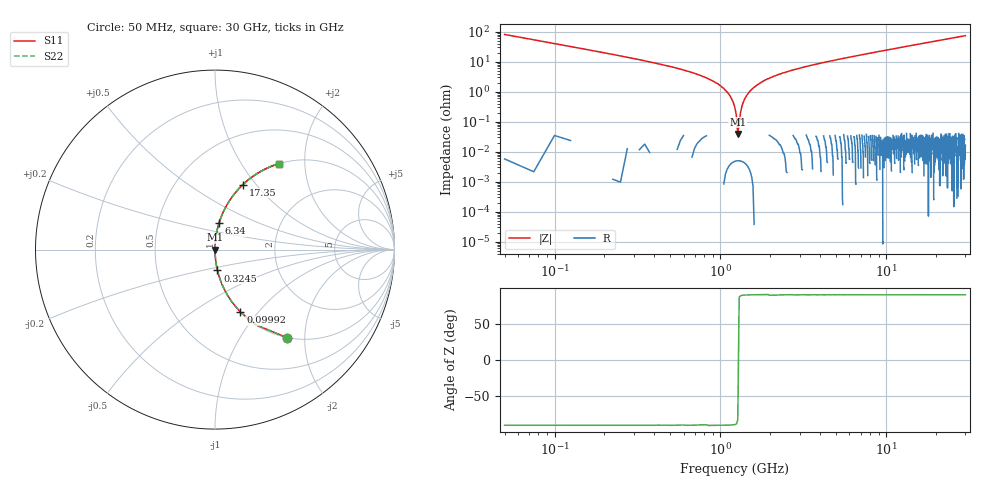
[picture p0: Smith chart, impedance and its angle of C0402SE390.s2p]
# MHZ S MA R 50
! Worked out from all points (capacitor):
!   1201 points, 50 MHz to 30 GHz, reference 50 ohm
!   read as one part in series: C = 39 pF near 199.8 MHz
!   lowest |Z| = 38.8 mohm at 1.273 GHz (marker M1)
!   series resonance near 1.281 GHz, so ESL is about 400 pH
!   S11 on the Smith chart (normalised r, x): 50 MHz: 1.00, -1.63; 99.92 MHz: 1.00, -0.81; 324.5 MHz: 1.00, -0.24; 6.34 GHz: 1.00, +0.30; 17.35 GHz: 1.00, +0.86; 30 GHz: 1.00, +1.49
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50  0.632 -50.8  0.775 39.2  0.775 39.2  0.632 -50.8
99.917  0.376 -67.9  0.926 22.1  0.926 22.1  0.376 -67.9
224.708  0.173 -80.0  0.985 10.0  0.985 10.0  0.173 -80.0
324.542  0.117 -83.2  0.993 6.7  0.993 6.7  0.117 -83.2
948.5  0.019 -88.6  1 1.1  1 1.1  0.019 -88.6
1073.292  0.011 -88.8  1 0.6  1 0.6  0.011 -88.8
1173.125  0.005598 -88.7  1 0.3  1 0.3  0.005598 -88.7
1272.958  0.0003981 -75.4  1 0.0  1 0.0  0.0003981 -75.4
1372.792  0.004431 88.5  1 -0.3  1 -0.3  0.004431 88.5
1497.583  0.01 88.9  1 -0.6  1 -0.6  0.01 88.9
1647.333  0.016 88.7  1 -0.9  1 -0.9  0.016 88.7
1871.958  0.025 88.3  1 -1.4  1 -1.4  0.025 88.3
2196.417  0.036 87.8  0.999 -2.1  0.999 -2.1  0.036 87.8
3294.583  0.069 85.9  0.997 -4.0  0.997 -4.0  0.069 85.9
5041.667  0.117 83.3  0.993 -6.7  0.993 -6.7  0.117 83.3
6339.5  0.15 81.4  0.989 -8.6  0.989 -8.6  0.15 81.4
10058.29  0.239 76.1  0.971 -13.8  0.971 -13.8  0.239 76.1
15025  0.348 69.6  0.937 -20.4  0.937 -20.4  0.348 69.6
17346.12  0.394 66.8  0.919 -23.2  0.919 -23.2  0.394 66.8
20016.67  0.444 63.6  0.896 -26.4  0.896 -26.4  0.444 63.6
25033.29  0.528 58.1  0.849 -31.8  0.849 -31.8  0.528 58.1
30000  0.597 53.3  0.802 -36.7  0.802 -36.7  0.597 53.3
